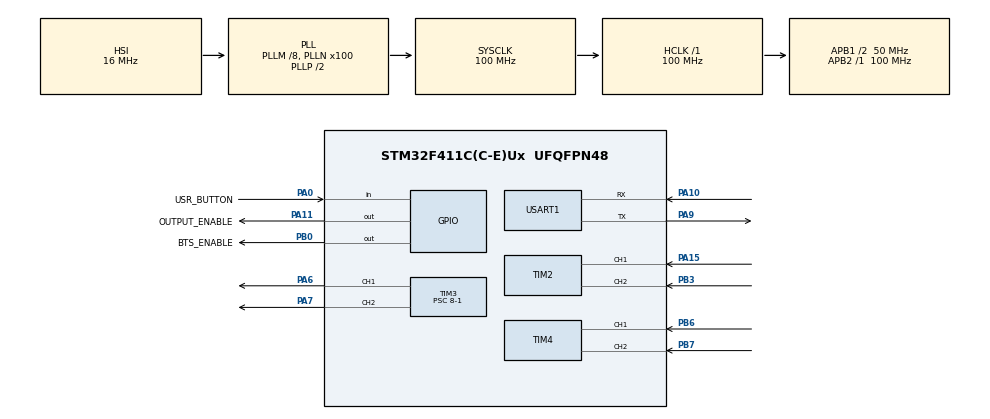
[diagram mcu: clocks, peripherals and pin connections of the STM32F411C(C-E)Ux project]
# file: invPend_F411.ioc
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Dma.Request0=USART1_TX
Dma.Request1=USART1_RX
Dma.USART1_RX.1.Direction=DMA_PERIPH_TO_MEMORY
Dma.USART1_RX.1.FIFOMode=DMA_FIFOMODE_DISABLE
Dma.USART1_RX.1.Instance=DMA2_Stream2
Dma.USART1_RX.1.MemDataAlignment=DMA_MDATAALIGN_BYTE
Dma.USART1_RX.1.MemInc=DMA_MINC_ENABLE
Dma.USART1_RX.1.Mode=DMA_NORMAL
Dma.USART1_RX.1.PeriphDataAlignment=DMA_PDATAALIGN_BYTE
Dma.USART1_RX.1.PeriphInc=DMA_PINC_DISABLE
Dma.USART1_RX.1.Priority=DMA_PRIORITY_LOW
Dma.USART1_TX.0.Direction=DMA_MEMORY_TO_PERIPH
Dma.USART1_TX.0.FIFOMode=DMA_FIFOMODE_DISABLE
Dma.USART1_TX.0.Instance=DMA2_Stream7
Dma.USART1_TX.0.MemDataAlignment=DMA_MDATAALIGN_BYTE
Dma.USART1_TX.0.MemInc=DMA_MINC_ENABLE
Dma.USART1_TX.0.Mode=DMA_NORMAL
Dma.USART1_TX.0.PeriphDataAlignment=DMA_PDATAALIGN_BYTE
Dma.USART1_TX.0.PeriphInc=DMA_PINC_DISABLE
Dma.USART1_TX.0.Priority=DMA_PRIORITY_LOW
Mcu.Family=STM32F4
Mcu.Name=STM32F411C(C-E)Ux
Mcu.Package=UFQFPN48
NVIC.DMA2_Stream2_IRQn=true\:9\:0\:true\:false\:true\:false\:true\:true
NVIC.DMA2_Stream7_IRQn=true\:8\:0\:true\:false\:true\:false\:true\:true
NVIC.PriorityGroup=NVIC_PRIORITYGROUP_4
NVIC.TIM1_UP_TIM10_IRQn=true\:6\:0\:true\:false\:true\:true\:true\:true
NVIC.TIM5_IRQn=true\:15\:0\:false\:false\:true\:false\:true\:true
NVIC.TimeBase=TIM5_IRQn
NVIC.TimeBaseIP=TIM5
NVIC.USART1_IRQn=true\:7\:0\:true\:false\:true\:true\:true\:true
PA0-WKUP.GPIO_Label=USR_BUTTON
PA0-WKUP.GPIO_PuPd=GPIO_PULLUP
PA0-WKUP.Signal=GPIO_Input
PA10.Mode=Asynchronous
PA10.Signal=USART1_RX
PA11.GPIO_Label=OUTPUT_ENABLE
PA11.Signal=GPIO_Output
PA13.Mode=Serial_Wire
PA13.Signal=SYS_JTMS-SWDIO
PA14.Mode=Serial_Wire
PA14.Signal=SYS_JTCK-SWCLK
PA15.Signal=S_TIM2_CH1_ETR
PA6.Signal=S_TIM3_CH1
PA7.Signal=S_TIM3_CH2
PA9.Mode=Asynchronous
PA9.Signal=USART1_TX
PB0.GPIO_Label=BTS_ENABLE
PB0.Signal=GPIO_Output
PB3.Signal=S_TIM2_CH2
PB6.Signal=S_TIM4_CH1
PB7.Signal=S_TIM4_CH2
PH0\ -\ OSC_IN.Mode=HSE-External-Oscillator
PH0\ -\ OSC_IN.Signal=RCC_OSC_IN
PH1\ -\ OSC_OUT.Mode=HSE-External-Oscillator
PH1\ -\ OSC_OUT.Signal=RCC_OSC_OUT
ProjectManager.HeapSize=0x200
ProjectManager.StackSize=0x400
ProjectManager.TargetToolchain=STM32CubeIDE
RCC.48MHZClocksFreq_Value=50000000
RCC.AHBFreq_Value=100000000
RCC.APB1CLKDivider=RCC_HCLK_DIV2
RCC.APB1Freq_Value=50000000
RCC.APB1TimFreq_Value=100000000
RCC.APB2Freq_Value=100000000
RCC.APB2TimFreq_Value=100000000
RCC.CortexFreq_Value=100000000
RCC.HCLKFreq_Value=100000000
RCC.HSE_VALUE=25000000
RCC.HSI_VALUE=16000000
RCC.LSE_VALUE=32768
RCC.PLLM=8
RCC.PLLN=100
RCC.SYSCLKFreq_VALUE=100000000
RCC.SYSCLKSource=RCC_SYSCLKSOURCE_PLLCLK
RCC.VCOOutputFreq_Value=200000000
SH.S_TIM2_CH1_ETR.0=TIM2_CH1,Encoder_Interface
SH.S_TIM2_CH2.0=TIM2_CH2,Encoder_Interface
SH.S_TIM3_CH1.0=TIM3_CH1,PWM Generation1 CH1
SH.S_TIM3_CH2.0=TIM3_CH2,PWM Generation2 CH2
SH.S_TIM4_CH1.0=TIM4_CH1,Encoder_Interface
SH.S_TIM4_CH2.0=TIM4_CH2,Encoder_Interface
TIM1.Period=10000-1
TIM1.Prescaler=100-1
TIM2.EncoderMode=TIM_ENCODERMODE_TI12
TIM3.Channel-PWM\ Generation1\ CH1=TIM_CHANNEL_1
TIM3.Channel-PWM\ Generation2\ CH2=TIM_CHANNEL_2
TIM3.OCFastMode_PWM-PWM\ Generation1\ CH1=TIM_OCFAST_ENABLE
TIM3.OCFastMode_PWM-PWM\ Generation2\ CH2=TIM_OCFAST_ENABLE
TIM3.Period=6000
TIM3.Prescaler=8-1
TIM4.EncoderMode=TIM_ENCODERMODE_TI12
USART1.VirtualMode=VM_ASYNC
VP_CRC_VS_CRC.Mode=CRC_Activate
VP_SYS_VS_tim5.Mode=TIM5
VP_TIM1_VS_ClockSourceINT.Mode=Internal
board=custom

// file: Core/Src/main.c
/* USER CODE BEGIN Header */
/**
  ******************************************************************************
  * @file           : main.c
  * @brief          : Main program body
  ******************************************************************************
  * @attention
  *
  * Copyright (c) 2025 STMicroelectronics.
  * All rights reserved.
  *
  * This software is licensed under terms that can be found in the LICENSE file
  * in the root directory of this software component.
  * If no LICENSE file comes with this software, it is provided AS-IS.
  *
  ******************************************************************************
  */
/* USER CODE END Header */
#include "main.h"

CRC_HandleTypeDef hcrc;

TIM_HandleTypeDef htim1;
TIM_HandleTypeDef htim2;
TIM_HandleTypeDef htim3;
TIM_HandleTypeDef htim4;

UART_HandleTypeDef huart1;
DMA_HandleTypeDef hdma_usart1_tx;
DMA_HandleTypeDef hdma_usart1_rx;

void SystemClock_Config(void);
static void MX_GPIO_Init(void);
static void MX_DMA_Init(void);
static void MX_TIM4_Init(void);
static void MX_TIM1_Init(void);
static void MX_TIM3_Init(void);
static void MX_USART1_UART_Init(void);
static void MX_CRC_Init(void);
static void MX_TIM2_Init(void);

/* USER CODE BEGIN 0 */
TaskHandle_t control_task_handle;
TaskHandle_t command_task_handle;
TaskHandle_t uartTx_task_handle;

MessageBufferHandle_t state_buffer;
MessageBufferHandle_t debug_buffer;

uint8_t send_pendulum_data_flag = 0;
uint8_t fsf_flag = 0;
uint8_t debug_data;

/* USER CODE END 0 */

int main(void)
{

  /* MCU Configuration--------------------------------------------------------*/

  /* Reset of all peripherals, Initializes the Flash interface and the Systick. */
  HAL_Init();

  /* Configure the system clock */
  SystemClock_Config();

  /* Initialize all configured peripherals */
  MX_GPIO_Init();
  MX_DMA_Init();
  MX_TIM4_Init();
  MX_TIM1_Init();
  MX_TIM3_Init();
  MX_USART1_UART_Init();
  MX_CRC_Init();
  MX_TIM2_Init();
  /* USER CODE BEGIN 2 */
  DWT->CTRL |= DWT_CTRL_CYCCNTENA_Msk;
  SEGGER_SYSVIEW_Conf();

  BaseType_t xStatus = pdFALSE;
  xStatus = xTaskCreate(control_task_handler, "control task", 1000, NULL, 4, &control_task_handle);
  configASSERT(xStatus == pdTRUE);

  xStatus = xTaskCreate(command_task_handler, "command task", 100, NULL, 2, &command_task_handle);
  configASSERT(xStatus == pdTRUE);

  xStatus = xTaskCreate(uartTx_task_handler, "uartTx task", 100, NULL, 3, &uartTx_task_handle);
  configASSERT(xStatus == pdTRUE);

  state_buffer = xMessageBufferCreate(100);
  configASSERT(state_buffer != NULL);

  debug_buffer = xMessageBufferCreate(50);
  configASSERT(debug_buffer != NULL);

  vTaskStartScheduler();
  Error_Handler();
  /* USER CODE END 2 */

  /* Infinite loop */
  while (1)
  {

  }
}

void SystemClock_Config(void)
{
  RCC_OscInitTypeDef RCC_OscInitStruct = {0};
  RCC_ClkInitTypeDef RCC_ClkInitStruct = {0};

  /** Configure the main internal regulator output voltage
  */
  __HAL_RCC_PWR_CLK_ENABLE();
  __HAL_PWR_VOLTAGESCALING_CONFIG(PWR_REGULATOR_VOLTAGE_SCALE1);

  /** Initializes the RCC Oscillators according to the specified parameters
  * in the RCC_OscInitTypeDef structure.
  */
  RCC_OscInitStruct.OscillatorType = RCC_OSCILLATORTYPE_HSI;
  RCC_OscInitStruct.HSIState = RCC_HSI_ON;
  RCC_OscInitStruct.HSICalibrationValue = RCC_HSICALIBRATION_DEFAULT;
  RCC_OscInitStruct.PLL.PLLState = RCC_PLL_ON;
  RCC_OscInitStruct.PLL.PLLSource = RCC_PLLSOURCE_HSI;
  RCC_OscInitStruct.PLL.PLLM = 8;
  RCC_OscInitStruct.PLL.PLLN = 100;
  RCC_OscInitStruct.PLL.PLLP = RCC_PLLP_DIV2;
  RCC_OscInitStruct.PLL.PLLQ = 4;
  if (HAL_RCC_OscConfig(&RCC_OscInitStruct) != HAL_OK)
  {
    Error_Handler();
  }

  /** Initializes the CPU, AHB and APB buses clocks
  */
  RCC_ClkInitStruct.ClockType = RCC_CLOCKTYPE_HCLK|RCC_CLOCKTYPE_SYSCLK
                              |RCC_CLOCKTYPE_PCLK1|RCC_CLOCKTYPE_PCLK2;
  RCC_ClkInitStruct.SYSCLKSource = RCC_SYSCLKSOURCE_PLLCLK;
  RCC_ClkInitStruct.AHBCLKDivider = RCC_SYSCLK_DIV1;
  RCC_ClkInitStruct.APB1CLKDivider = RCC_HCLK_DIV2;
  RCC_ClkInitStruct.APB2CLKDivider = RCC_HCLK_DIV1;

  if (HAL_RCC_ClockConfig(&RCC_ClkInitStruct, FLASH_LATENCY_3) != HAL_OK)
  {
    Error_Handler();
  }
}

static void MX_CRC_Init(void)
{

  hcrc.Instance = CRC;
  if (HAL_CRC_Init(&hcrc) != HAL_OK)
  {
    Error_Handler();
  }

}

static void MX_TIM1_Init(void)
{

  TIM_ClockConfigTypeDef sClockSourceConfig = {0};
  TIM_MasterConfigTypeDef sMasterConfig = {0};

  htim1.Instance = TIM1;
  htim1.Init.Prescaler = 100-1;
  htim1.Init.CounterMode = TIM_COUNTERMODE_UP;
  htim1.Init.Period = 10000-1;
  htim1.Init.ClockDivision = TIM_CLOCKDIVISION_DIV1;
  htim1.Init.RepetitionCounter = 0;
  htim1.Init.AutoReloadPreload = TIM_AUTORELOAD_PRELOAD_DISABLE;
  if (HAL_TIM_Base_Init(&htim1) != HAL_OK)
  {
    Error_Handler();
  }
  sClockSourceConfig.ClockSource = TIM_CLOCKSOURCE_INTERNAL;
  if (HAL_TIM_ConfigClockSource(&htim1, &sClockSourceConfig) != HAL_OK)
  {
    Error_Handler();
  }
  sMasterConfig.MasterOutputTrigger = TIM_TRGO_RESET;
  sMasterConfig.MasterSlaveMode = TIM_MASTERSLAVEMODE_DISABLE;
  if (HAL_TIMEx_MasterConfigSynchronization(&htim1, &sMasterConfig) != HAL_OK)
  {
    Error_Handler();
  }

}

static void MX_TIM2_Init(void)
{

  TIM_Encoder_InitTypeDef sConfig = {0};
  TIM_MasterConfigTypeDef sMasterConfig = {0};

  htim2.Instance = TIM2;
  htim2.Init.Prescaler = 0;
  htim2.Init.CounterMode = TIM_COUNTERMODE_UP;
  htim2.Init.Period = 4294967295;
  htim2.Init.ClockDivision = TIM_CLOCKDIVISION_DIV1;
  htim2.Init.AutoReloadPreload = TIM_AUTORELOAD_PRELOAD_DISABLE;
  sConfig.EncoderMode = TIM_ENCODERMODE_TI12;
  sConfig.IC1Polarity = TIM_ICPOLARITY_RISING;
  sConfig.IC1Selection = TIM_ICSELECTION_DIRECTTI;
  sConfig.IC1Prescaler = TIM_ICPSC_DIV1;
  sConfig.IC1Filter = 0;
  sConfig.IC2Polarity = TIM_ICPOLARITY_RISING;
  sConfig.IC2Selection = TIM_ICSELECTION_DIRECTTI;
  sConfig.IC2Prescaler = TIM_ICPSC_DIV1;
  sConfig.IC2Filter = 0;
  if (HAL_TIM_Encoder_Init(&htim2, &sConfig) != HAL_OK)
  {
    Error_Handler();
  }
  sMasterConfig.MasterOutputTrigger = TIM_TRGO_RESET;
  sMasterConfig.MasterSlaveMode = TIM_MASTERSLAVEMODE_DISABLE;
  if (HAL_TIMEx_MasterConfigSynchronization(&htim2, &sMasterConfig) != HAL_OK)
  {
    Error_Handler();
  }

}

static void MX_TIM3_Init(void)
{

  TIM_MasterConfigTypeDef sMasterConfig = {0};
  TIM_OC_InitTypeDef sConfigOC = {0};

  htim3.Instance = TIM3;
  htim3.Init.Prescaler = 8-1;
  htim3.Init.CounterMode = TIM_COUNTERMODE_UP;
  htim3.Init.Period = 6000;
  htim3.Init.ClockDivision = TIM_CLOCKDIVISION_DIV1;
  htim3.Init.AutoReloadPreload = TIM_AUTORELOAD_PRELOAD_DISABLE;
  if (HAL_TIM_PWM_Init(&htim3) != HAL_OK)
  {
    Error_Handler();
  }
  sMasterConfig.MasterOutputTrigger = TIM_TRGO_RESET;
  sMasterConfig.MasterSlaveMode = TIM_MASTERSLAVEMODE_DISABLE;
  if (HAL_TIMEx_MasterConfigSynchronization(&htim3, &sMasterConfig) != HAL_OK)
  {
    Error_Handler();
  }
  sConfigOC.OCMode = TIM_OCMODE_PWM1;
  sConfigOC.Pulse = 0;
  sConfigOC.OCPolarity = TIM_OCPOLARITY_HIGH;
  sConfigOC.OCFastMode = TIM_OCFAST_ENABLE;
  if (HAL_TIM_PWM_ConfigChannel(&htim3, &sConfigOC, TIM_CHANNEL_1) != HAL_OK)
  {
    Error_Handler();
  }
  if (HAL_TIM_PWM_ConfigChannel(&htim3, &sConfigOC, TIM_CHANNEL_2) != HAL_OK)
  {
    Error_Handler();
  }
  HAL_TIM_MspPostInit(&htim3);

}

static void MX_TIM4_Init(void)
{

  TIM_Encoder_InitTypeDef sConfig = {0};
  TIM_MasterConfigTypeDef sMasterConfig = {0};

  htim4.Instance = TIM4;
  htim4.Init.Prescaler = 0;
  htim4.Init.CounterMode = TIM_COUNTERMODE_UP;
  htim4.Init.Period = 65535;
  htim4.Init.ClockDivision = TIM_CLOCKDIVISION_DIV1;
  htim4.Init.AutoReloadPreload = TIM_AUTORELOAD_PRELOAD_DISABLE;
  sConfig.EncoderMode = TIM_ENCODERMODE_TI12;
  sConfig.IC1Polarity = TIM_ICPOLARITY_RISING;
  sConfig.IC1Selection = TIM_ICSELECTION_DIRECTTI;
  sConfig.IC1Prescaler = TIM_ICPSC_DIV1;
  sConfig.IC1Filter = 0;
  sConfig.IC2Polarity = TIM_ICPOLARITY_RISING;
  sConfig.IC2Selection = TIM_ICSELECTION_DIRECTTI;
  sConfig.IC2Prescaler = TIM_ICPSC_DIV1;
  sConfig.IC2Filter = 0;
  if (HAL_TIM_Encoder_Init(&htim4, &sConfig) != HAL_OK)
  {
    Error_Handler();
  }
  sMasterConfig.MasterOutputTrigger = TIM_TRGO_RESET;
  sMasterConfig.MasterSlaveMode = TIM_MASTERSLAVEMODE_DISABLE;
  if (HAL_TIMEx_MasterConfigSynchronization(&htim4, &sMasterConfig) != HAL_OK)
  {
    Error_Handler();
  }

}

static void MX_USART1_UART_Init(void)
{

  huart1.Instance = USART1;
  huart1.Init.BaudRate = 115200;
  huart1.Init.WordLength = UART_WORDLENGTH_8B;
  huart1.Init.StopBits = UART_STOPBITS_1;
  huart1.Init.Parity = UART_PARITY_NONE;
  huart1.Init.Mode = UART_MODE_TX_RX;
  huart1.Init.HwFlowCtl = UART_HWCONTROL_NONE;
  huart1.Init.OverSampling = UART_OVERSAMPLING_16;
  if (HAL_UART_Init(&huart1) != HAL_OK)
  {
    Error_Handler();
  }

}

static void MX_DMA_Init(void)
{

  /* DMA controller clock enable */
  __HAL_RCC_DMA2_CLK_ENABLE();

  /* DMA interrupt init */
  /* DMA2_Stream2_IRQn interrupt configuration */
  HAL_NVIC_SetPriority(DMA2_Stream2_IRQn, 9, 0);
  HAL_NVIC_EnableIRQ(DMA2_Stream2_IRQn);
  /* DMA2_Stream7_IRQn interrupt configuration */
  HAL_NVIC_SetPriority(DMA2_Stream7_IRQn, 8, 0);
  HAL_NVIC_EnableIRQ(DMA2_Stream7_IRQn);

}

static void MX_GPIO_Init(void)
{
  GPIO_InitTypeDef GPIO_InitStruct = {0};

  /* GPIO Ports Clock Enable */
  __HAL_RCC_GPIOH_CLK_ENABLE();
  __HAL_RCC_GPIOA_CLK_ENABLE();
  __HAL_RCC_GPIOB_CLK_ENABLE();

  /*Configure GPIO pin Output Level */
  HAL_GPIO_WritePin(BTS_ENABLE_GPIO_Port, BTS_ENABLE_Pin, GPIO_PIN_RESET);

  /*Configure GPIO pin Output Level */
  HAL_GPIO_WritePin(OUTPUT_ENABLE_GPIO_Port, OUTPUT_ENABLE_Pin, GPIO_PIN_RESET);

  /*Configure GPIO pin : USR_BUTTON_Pin */
  GPIO_InitStruct.Pin = USR_BUTTON_Pin;
  GPIO_InitStruct.Mode = GPIO_MODE_INPUT;
  GPIO_InitStruct.Pull = GPIO_PULLUP;
  HAL_GPIO_Init(USR_BUTTON_GPIO_Port, &GPIO_InitStruct);

  /*Configure GPIO pin : BTS_ENABLE_Pin */
  GPIO_InitStruct.Pin = BTS_ENABLE_Pin;
  GPIO_InitStruct.Mode = GPIO_MODE_OUTPUT_PP;
  GPIO_InitStruct.Pull = GPIO_NOPULL;
  GPIO_InitStruct.Speed = GPIO_SPEED_FREQ_LOW;
  HAL_GPIO_Init(BTS_ENABLE_GPIO_Port, &GPIO_InitStruct);

  /*Configure GPIO pin : OUTPUT_ENABLE_Pin */
  GPIO_InitStruct.Pin = OUTPUT_ENABLE_Pin;
  GPIO_InitStruct.Mode = GPIO_MODE_OUTPUT_PP;
  GPIO_InitStruct.Pull = GPIO_NOPULL;
  GPIO_InitStruct.Speed = GPIO_SPEED_FREQ_LOW;
  HAL_GPIO_Init(OUTPUT_ENABLE_GPIO_Port, &GPIO_InitStruct);

}

/* USER CODE BEGIN 4 */

void start_sampler() {
	if (HAL_TIM_Base_Start_IT(&htim1) != HAL_OK)
		Error_Handler();

}

/* USER CODE END 4 */

void Error_Handler(void)
{
  /* USER CODE BEGIN Error_Handler_Debug */
	//l298nMotorDriver_motor_stop();
  /* User can add his own implementation to report the HAL error return state */
  __disable_irq();
  while (1)
  {
  }
  /* USER CODE END Error_Handler_Debug */
}
